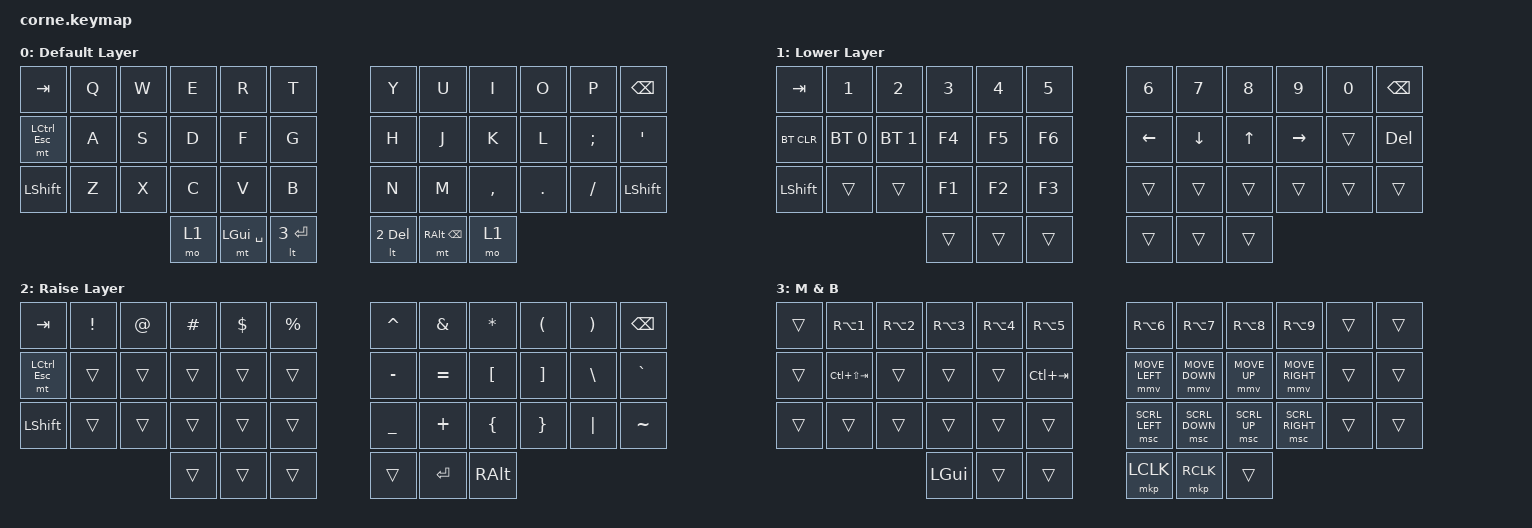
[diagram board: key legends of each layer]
/*
 * Copyright (c) 2020 The ZMK Contributors
 *
 * SPDX-License-Identifier: MIT
 */

#include <behaviors.dtsi>
#include <dt-bindings/zmk/bt.h>
#include <dt-bindings/zmk/keys.h>
#include <dt-bindings/zmk/mouse.h>

/ {
    behaviors {
        mt: mod_tap {
            compatible = "zmk,behavior-hold-tap";
            #binding-cells = <2>;
            tapping-term-ms = <200>;
            quick-tap-ms = <100>;
            flavor = "tap-preferred";
            hold-trigger-on-release;
            hold-trigger-key-positions = <18 19 20 39 40 41>;
        };

        lt: layer_tap {
            compatible = "zmk,behavior-hold-tap";
            #binding-cells = <2>;
            tapping-term-ms = <200>;
            quick-tap-ms = <100>;
            flavor = "tap-preferred";
            hold-trigger-on-release;
            hold-trigger-key-positions = <18 19 20 39 40 41>;
        };
    };

    keymap {
        compatible = "zmk,keymap";

        default_layer {
            display-name = "Default Layer";

            // -----------------------------------------------------------------------------------------
            // |  TAB |  Q  |  W  |  E  |  R  |  T  |   |  Y  |  U   |  I  |  O  |  P  | BSPC |
            // | [CTRL+ESC] |  A  |  S  |  D  |  F  |  G  |   |  H  |  J   |  K  |  L  |  ;  |  '   |
            // | SHFT |  Z  |  X  |  C  |  V  |  B  |   |  N  |  M   |  ,  |  .  |  /  | ESC  |
            //                    | LOWER | [CMD|SPC] | [M&B|ENT] |   | [RAISE|DEL] | [RALT|BSPC] | LOWER |

            bindings = <
&kp TAB        &kp Q  &kp W  &kp E     &kp R  &kp T          &kp Y    &kp U  &kp I      &kp O    &kp P     &kp BSPC
&mt LCTRL ESC  &kp A  &kp S  &kp D     &kp F  &kp G          &kp H    &kp J  &kp K      &kp L    &kp SEMI  &kp SQT
&kp LSHFT      &kp Z  &kp X  &kp C     &kp V  &kp B          &kp N    &kp M  &kp COMMA  &kp DOT  &kp FSLH  &kp LSHFT
                    &mo 1   &mt LGUI SPACE  &lt 3 RET     &lt 2 DEL  &mt RALT BSPC  &mo 1
            >;
        };

        lower_layer {
            display-name = "Lower Layer";

            // -----------------------------------------------------------------------------------------
            // |  TAB |  1  |  2  |  3  |  4  |  5  |   |  6   |  7  |  8  |  9  |  0  | BSPC |
            // | BTCLR| BT1 | BT2 | F4  | F5  | F6  |   | LFT  | DWN |  UP | RGT |     |      |
            // | SHFT |     |     | F1  | F2  | F3  |   |      |     |     |     |     |      |
            //                    |     |     |     |   | RALT |     | DEL |

            bindings = <
&kp TAB     &kp N1        &kp N2        &kp N3        &kp N4        &kp N5        &kp N6    &kp N7    &kp N8    &kp N9     &kp N0  &kp BSPC
&bt BT_CLR  &bt BT_SEL 0  &bt BT_SEL 1  &kp F4        &kp F5        &kp F6        &kp LEFT  &kp DOWN  &kp UP    &kp RIGHT  &trans  &kp DEL
&kp LSHFT   &trans        &trans        &kp F1        &kp F2        &kp F3        &trans    &trans    &trans    &trans     &trans  &trans
                                        &trans        &trans        &trans        &trans    &trans    &trans
            >;
        };

        raise_layer {
            display-name = "Raise Layer";

            // -----------------------------------------------------------------------------------------
            // |  TAB |  !  |  @  |  #  |  $  |  %  |   |  ^  |  &  |  *  |  (  |  )  | BSPC |
            // | [CTRL+ESC] |     |     |     |     |   |     |  -  |  =  |  [  |  ]  |  \  |  `   |
            // | SHFT |     |     |     |     |     |   |  _  |  +  |  {  |  }  | "|" |  ~   |
            //                    | GUI |     | SPC |   |     |  RET  | RALT |

            bindings = <
&kp TAB        &kp EXCL  &kp AT  &kp HASH  &kp DLLR  &kp PRCNT    &kp CARET  &kp AMPS   &kp ASTRK  &kp LPAR  &kp RPAR  &kp BSPC
&mt LCTRL ESC  &trans    &trans  &trans    &trans    &trans       &kp MINUS  &kp EQUAL  &kp LBKT   &kp RBKT  &kp BSLH  &kp GRAVE
&kp LSHFT      &trans    &trans  &trans    &trans    &trans       &kp UNDER  &kp PLUS   &kp LBRC   &kp RBRC  &kp PIPE  &kp TILDE
                             &trans      &trans    &trans    &trans    &kp RET     &kp RALT
            >;
        };

        m_and_b_layer {
            display-name = "M & B";

            // -----------------------------------------------------------------------------------------
            // |      |      |      |      |      |      | -- |           |           |           |           |      |      |
            // |      |      |      |      |      |      | -- | MOVE_LEFT | MOVE_DOWN | MOVE_UP   | MOVE_RIGHT|      |      |
            // |      |      |      |      |      |      | -- | SCRL_LEFT | SCRL_DOWN | SCRL_UP   | SCRL_RIGHT|      |      |
            //                      | GUI  |      |      | -- | LCLK | RCLK |      |

            bindings = <
&trans   &kp RA(N1)      &kp RA(N2)   &kp RA(N3)    &kp RA(N4)    &kp RA(N5)            &kp RA(N6)             &kp RA(N7)           &kp RA(N8)     &kp RA(N9)          &trans    &trans
&trans   &kp LC(LS(TAB)) &trans       &trans        &trans       &kp LC(TAB)           &mmv MOVE_LEFT         &mmv MOVE_DOWN       &mmv MOVE_UP   &mmv MOVE_RIGHT     &trans    &trans
&trans   &trans          &trans       &trans        &trans       &trans                &msc SCRL_LEFT         &msc SCRL_DOWN       &msc SCRL_UP   &msc SCRL_RIGHT     &trans    &trans
                                &kp LGUI        &trans          &trans                 &mkp LCLK              &mkp RCLK              &trans
            >;
        };
    };
};
